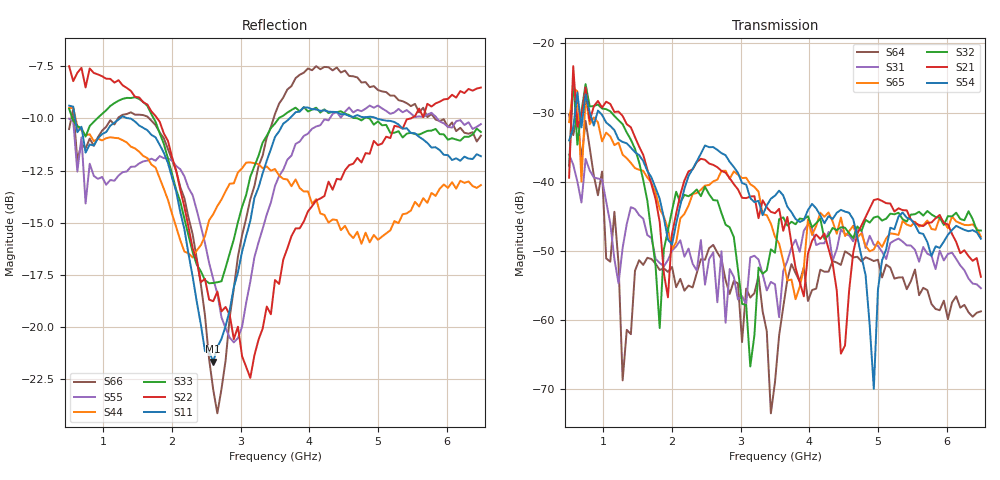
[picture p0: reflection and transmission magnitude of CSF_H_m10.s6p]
!Keysight Technologies,M9804A,MY58100912,A.14.10.03
!Date: Thursday, April 27, 2023 10:28:33
!Correction: S11(C  6-Port  )
!S12(C  6-Port  )
!S13(C  6-Port  )
!S14(C  6-Port  )
!S15(C  6-Port  )
!S16(C  6-Port  )
!S21(C  6-Port  )
!S22(C  6-Port  )
!S23(C  6-Port  )
!S24(C  6-Port  )
!S25(C  6-Port  )
!S26(C  6-Port  )
!S31(C  6-Port  )
!S32(C  6-Port  )
!S33(C  6-Port  )
!S34(C  6-Port  )
!S35(C  6-Port  )
!S36(C  6-Port  )
!S41(C  6-Port  )
!S42(C  6-Port  )
!S43(C  6-Port  )
!S44(C  6-Port  )
!S45(C  6-Port  )
!S46(C  6-Port  )
!S51(C  6-Port  )
!S52(C  6-Port  )
!S53(C  6-Port  )
!S54(C  6-Port  )
!S55(C  6-Port  )
!S56(C  6-Port  )
!S61(C  6-Port  )
!S62(C  6-Port  )
!S63(C  6-Port  )
!S64(C  6-Port  )
!S65(C  6-Port  )
!S66(C  6-Port  )
!S6P File: Measurement: :
# Hz S  RI  R 50
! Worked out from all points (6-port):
!   101 points, 500 MHz to 6.5 GHz, reference 50 ohm
!   strongest paths, dB at 500 MHz, 2 GHz, 3.5 GHz, 5 GHz, 6.5 GHz:
!     S54: -34.0, -49.1, -42.0, -55.6, -48.2
!     S21: -39.4, -47.5, -44.6, -42.5, -53.7
!     S32: -37.7, -44.1, -50.3, -45.0, -47.1
!     S65: -31.4, -49.8, -48.0, -48.6, -47.9
!     S31: -36.1, -50.0, -54.8, -49.3, -55.4
!     S64: -30.3, -52.3, -69.0, -51.3, -58.7
!   lowest |S11| = -21.7 dB at 2.6 GHz (marker M1), VSWR 1.18, Z = 42.6 + j2 ohm
!   |S11| at or under -10 dB: 587.4 MHz to 1.243 GHz (655.7 MHz wide, 71.6 % of centre); 1.368 GHz to 3.714 GHz (2.346 GHz wide, 92.3 % of centre); 4.977 GHz to end of sweep
